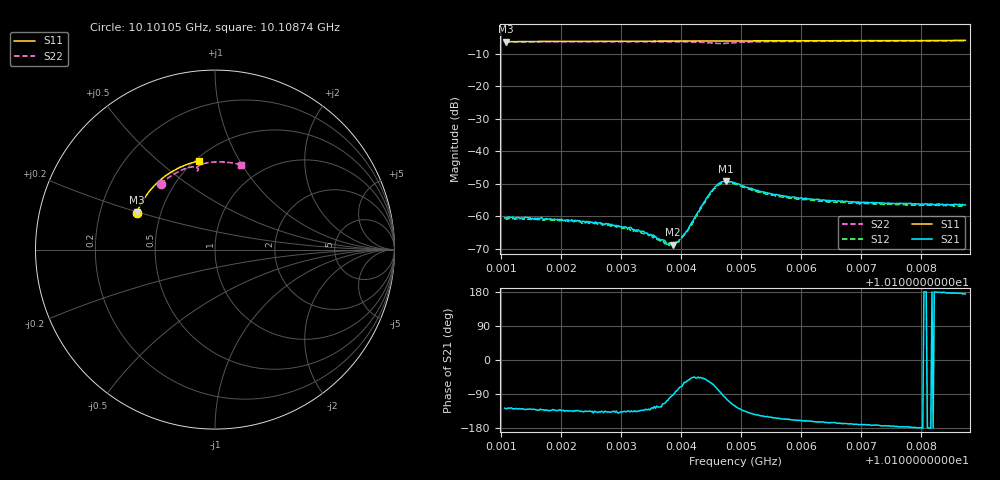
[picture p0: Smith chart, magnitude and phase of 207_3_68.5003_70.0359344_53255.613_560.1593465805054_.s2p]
#  HZ  S  RI  R  50.00
! Rohde & Schwarz Vector Network Analyzer
! Rohde-Schwarz,ZNB20-2Port,1311601062101988,3.16
! Created: UTC 3/20/2024, 4:57:53 PM
! freq[Hz]  re:S11  im:S11  re:S21  im:S21  re:S12  im:S12  re:S22  im:S22
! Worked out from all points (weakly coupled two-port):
!   401 points, 10.10105 GHz to 10.10874 GHz, reference 50 ohm
!   highest |S21| = -49.17 dB at 10.10474 GHz (marker M1); lowest = -68.7 dB at 10.10386 GHz (marker M2)
!   lowest |S11| = -6.3 dB at 10.10107 GHz (marker M3), VSWR 2.86, Z = 18.3 + j9.87 ohm
!   |S11| at or under -10 dB: nowhere
!   |S22| runs from -6.9 to -6.1 dB; largest |S21 - S12| = 0.00036
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1.0101053e10  -0.4357 0.2065  -0.000577 -0.000761  -0.000521 -0.000776  -0.303 0.3653
1.0101072e10  -0.4352 0.2076  -0.00058 -0.000737  -0.000508 -0.000765  -0.3021 0.3662
1.0101437e10  -0.4263 0.228  -0.000611 -0.000732  -0.000542 -0.000718  -0.2841 0.3817
1.0102186e10  -0.405 0.2683  -0.000609 -0.00062  -0.000539 -0.000656  -0.2449 0.4105
1.010234e10  -0.3999 0.2764  -0.000575 -0.000575  -0.000521 -0.000593  -0.2365 0.4159
1.0102743e10  -0.3866 0.2969  -0.000559 -0.00054  -0.000523 -0.000542  -0.2135 0.4294
1.0103127e10  -0.3729 0.3157  -0.000476 -0.000469  -0.000449 -0.000477  -0.1905 0.441
1.0103454e10  -0.3605 0.3312  -0.000328 -0.000398  -0.000306 -0.000399  -0.1698 0.4496
1.0103627e10  -0.3536 0.3391  -0.000254 -0.000373  -0.000212 -0.000379  -0.1583 0.4537
1.0103781e10  -0.3475 0.3461  -9.9e-05 -0.000361  -9.7e-05 -0.000369  -0.1477 0.4569
1.0103857e10  -0.3444 0.3496  -1.76e-05 -0.000367  -5.06e-08 -0.000374  -0.1421 0.4583
1.0103953e10  -0.3403 0.3537  0.000104 -0.000402  0.000138 -0.000378  -0.1349 0.4597
1.0104069e10  -0.3353 0.3589  0.000285 -0.000477  0.000329 -0.000429  -0.1257 0.4609
1.0104414e10  -0.3205 0.3734  0.00116 -0.00147  0.00118 -0.00131  -0.0974 0.4543
1.0104549e10  -0.3143 0.3789  0.00102 -0.00251  0.0012 -0.00237  -0.0927 0.4445
1.0104645e10  -0.3101 0.3828  0.000335 -0.00326  0.000588 -0.00308  -0.0961 0.4396
1.0104741e10  -0.3059 0.3866  -0.000638 -0.00342  -0.000368 -0.00332  -0.1018 0.4412
1.0104895e10  -0.2987 0.3925  -0.00169 -0.00277  -0.00142 -0.00278  -0.1026 0.4527
1.0105452e10  -0.2722 0.4134  -0.00194 -0.00113  -0.00179 -0.00123  -0.0668 0.4776
1.0106182e10  -0.2351 0.4375  -0.00173 -0.000568  -0.0016 -0.0007  -0.0169 0.4869
1.0107469e10  -0.165 0.4713  -0.00157 -0.000182  -0.0015 -0.000292  0.0675 0.4865
1.0108737e10  -0.0917 0.4932  -0.00149 0.000148  -0.00144 -4.05e-05  0.1472 0.4715
